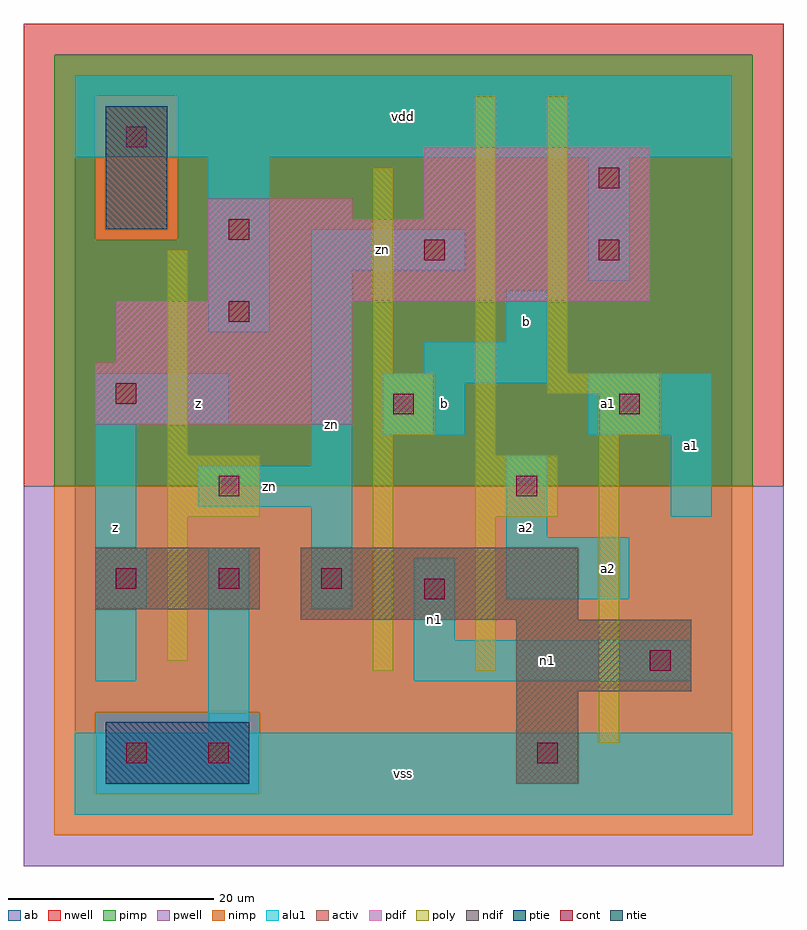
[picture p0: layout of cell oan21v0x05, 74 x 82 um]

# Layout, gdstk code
import gdstk
lib = gdstk.Library(unit=1e-6, precision=1e-09)
def R(c, l, rs):  # rectangles x0, y0, x1, y1
    for r in rs: c.add(gdstk.rectangle(r[:2], r[2:], *l))
def A(c, l, x, y, w, h, nx, ny, dx, dy):  # array of equal rectangles
    R(c, l, [(x+i*dx, y+j*dy, x+i*dx+w, y+j*dy+h) for i in range(nx) for j in range(ny)])
ndif = (3, 0)
pdif = (4, 0)
ntie = (5, 0)
ptie = (6, 0)
cont = (25, 0)
pwell = (41, 0)
nwell = (42, 0)
activ = (43, 0)
pimp = (44, 0)
nimp = (45, 0)
poly = (46, 0)
alu1 = (49, 0)
ab = (63, 0)

oan21v0x05 = lib.new_cell('oan21v0x05')
R(oan21v0x05, ndif, [(43,3,49,12), (43,12,60,19), (22,19,49,26), (2,20,18,26)])
R(oan21v0x05, pdif, [(2,38,27,44), (4,44,27,50), (13,50,56,58), (13,58,27,60), (34,58,56,65)])
R(oan21v0x05, ntie, [(3,57,9,69)])
R(oan21v0x05, ptie, [(3,3,17,9)])
A(oan21v0x05, cont, 4, 22, 2, 2, 3, 1, 10, 0)
R(oan21v0x05, cont, [(5,5,7,7), (13,5,15,7), (45,5,47,7), (56,14,58,16), (34,21,36,23), (14,31,16,33), (43,31,45,33), (31,39,33,41), (53,39,55,41), (4,40,6,42), (15,48,17,50), (34,54,36,56), (51,54,53,56), (15,56,17,58), (51,61,53,63), (5,65,7,67)])
R(oan21v0x05, pwell, [(-5,-5,69,32)])
R(oan21v0x05, nwell, [(-5,32,69,77)])
R(oan21v0x05, activ, [(3,3,17,9), (43,3,49,12), (43,12,60,19), (22,19,49,26), (2,20,18,26), (2,38,27,44), (4,44,27,50), (13,50,56,58), (3,57,9,69), (13,58,27,60), (34,58,56,65)])
R(oan21v0x05, pimp, [(2,2,18,10), (-2,32,66,56), (-2,56,2,70), (10,56,66,70), (-2,70,66,74)])
R(oan21v0x05, nimp, [(-2,-2,66,2), (-2,2,2,10), (18,2,66,10), (-2,10,66,32), (2,56,10,70)])
R(oan21v0x05, poly, [(51,7,53,37), (29,14,31,37), (39,14,41,29), (9,15,11,29), (9,29,18,35), (39,29,47,35), (9,35,11,55), (39,35,41,70), (29,37,35,43), (51,37,57,41), (46,41,57,43), (29,43,31,63), (46,43,48,70)])
R(oan21v0x05, alu1, [(0,0,64,8), (13,8,17,26), (2,13,6,20), (33,13,60,17), (33,17,37,25), (2,20,7,26), (23,20,27,30), (42,21,54,27), (2,26,6,38), (42,27,46,35), (58,29,62,37), (12,30,27,34), (23,34,27,53), (30,37,38,42), (50,37,62,43), (2,38,15,43), (30,42,46,43), (34,43,46,46), (42,46,46,51), (13,47,19,64), (50,52,54,64), (23,53,38,57), (0,64,64,72)])
R(oan21v0x05, ab, [(0,0,64,72)])
oan21v0x05.add(gdstk.Label('n1', (35,19), layer=49, texttype=0))
oan21v0x05.add(gdstk.Label('zn', (19,32), layer=49, texttype=0))
oan21v0x05.add(gdstk.Label('zn', (25,38), layer=49, texttype=0))
oan21v0x05.add(gdstk.Label('zn', (30,55), layer=49, texttype=0))
oan21v0x05.add(gdstk.Label('n1', (46,15), layer=49, texttype=0))
oan21v0x05.add(gdstk.Label('z', (4,28), layer=49, texttype=0))
oan21v0x05.add(gdstk.Label('z', (12,40), layer=49, texttype=0))
oan21v0x05.add(gdstk.Label('vss', (32,4), layer=49, texttype=0))
oan21v0x05.add(gdstk.Label('a2', (44,28), layer=49, texttype=0))
oan21v0x05.add(gdstk.Label('b', (36,40), layer=49, texttype=0))
oan21v0x05.add(gdstk.Label('b', (44,48), layer=49, texttype=0))
oan21v0x05.add(gdstk.Label('vdd', (32,68), layer=49, texttype=0))
oan21v0x05.add(gdstk.Label('a2', (52,24), layer=49, texttype=0))
oan21v0x05.add(gdstk.Label('a1', (60,36), layer=49, texttype=0))
oan21v0x05.add(gdstk.Label('a1', (52,40), layer=49, texttype=0))

lib.write_gds('oan21v0x05.gds')
